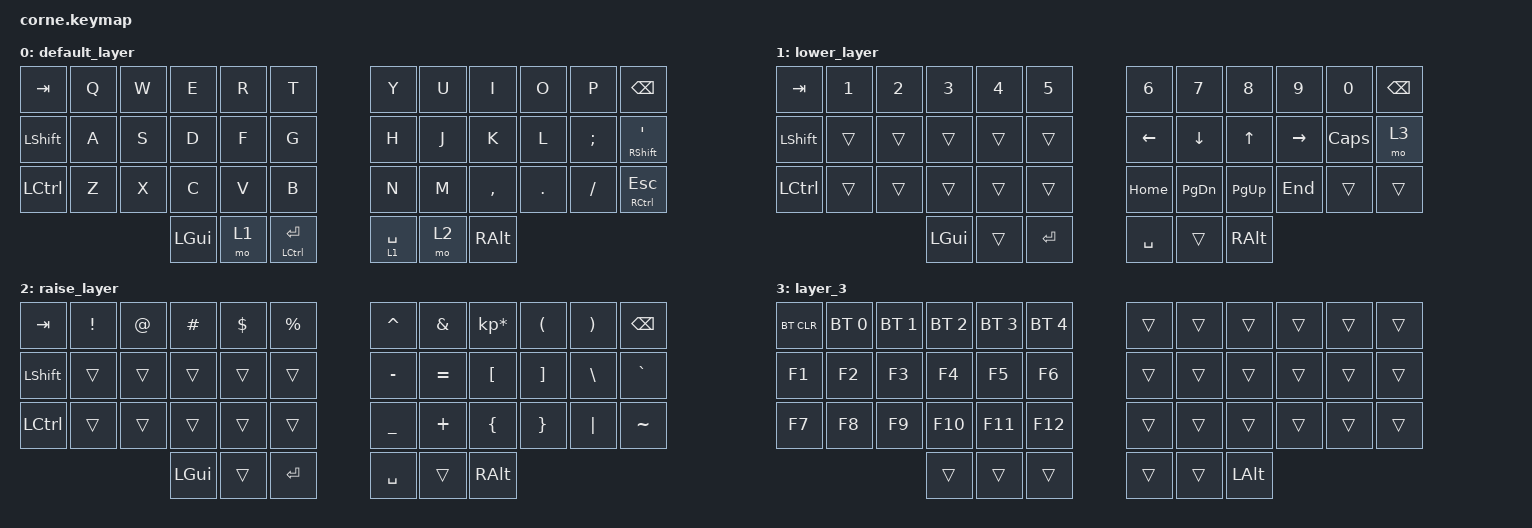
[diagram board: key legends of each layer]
/*
 * Copyright (c) 2020 The ZMK Contributors
 *
 * SPDX-License-Identifier: MIT
 */

#include <behaviors.dtsi>
#include <dt-bindings/zmk/bt.h>
#include <dt-bindings/zmk/keys.h>

/ {
    combos {
        compatible = "zmk,combos";

        Delete {
            bindings = <&kp DELETE>;
            key-positions = <11 10>;
        };
    };

    keymap {
        compatible = "zmk,keymap";

        default_layer {
            // -----------------------------------------------------------------------------------------
            // |  TAB |  Q  |  W  |  E  |  R  |  T  |   |  Y  |  U   |  I  |  O  |  P  | BKSP |
            // | CTRL |  A  |  S  |  D  |  F  |  G  |   |  H  |  J   |  K  |  L  |  ;  |  '   |
            // | SHFT |  Z  |  X  |  C  |  V  |  B  |   |  N  |  M   |  ,  |  .  |  /  | ESC  |
            //                    | GUI | LWR | ENT |   | SPC | RSE  | ALT |

            bindings = <
&kp TAB           &kp Q  &kp W  &kp E     &kp R  &kp T              &kp Y        &kp U  &kp I      &kp O    &kp P     &kp BSPC
&kp LEFT_SHIFT    &kp A  &kp S  &kp D     &kp F  &kp G              &kp H        &kp J  &kp K      &kp L    &kp SEMI  &mt RIGHT_SHIFT SQT
&kp LEFT_CONTROL  &kp Z  &kp X  &kp C     &kp V  &kp B              &kp N        &kp M  &kp COMMA  &kp DOT  &kp FSLH  &mt RIGHT_CONTROL ESC
                                &kp LGUI  &mo 1  &mt LCTRL ENTER    &lt 1 SPACE  &mo 2  &kp RALT
            >;
        };

        lower_layer {
            // -----------------------------------------------------------------------------------------
            // |  TAB |  1  |  2  |  3  |  4  |  5  |   |  6  |  7  |  8  |  9  |  0  | BKSP |
            // | BTCLR| BT1 | BT2 | BT3 | BT4 | BT5 |   | LFT | DWN |  UP | RGT |     |      |
            // | SHFT |     |     |     |     |     |   |     |     |     |     |     |      |
            //                    | GUI |     | ENT |   | SPC |     | ALT |

            bindings = <
&kp TAB           &kp N1  &kp N2  &kp N3    &kp N4  &kp N5     &kp N6     &kp N7         &kp N8     &kp N9     &kp N0    &kp BSPC
&kp LEFT_SHIFT    &trans  &trans  &trans    &trans  &trans     &kp LEFT   &kp DOWN       &kp UP     &kp RIGHT  &kp CAPS  &mo 3
&kp LEFT_CONTROL  &trans  &trans  &trans    &trans  &trans     &kp HOME   &kp PAGE_DOWN  &kp PG_UP  &kp END    &trans    &trans
                                  &kp LGUI  &trans  &kp RET    &kp SPACE  &trans         &kp RALT
            >;
        };

        raise_layer {
            // -----------------------------------------------------------------------------------------
            // |  TAB |  !  |  @  |  #  |  $  |  %  |   |  ^  |  &  |  *  |  (  |  )  | BKSP |
            // | CTRL |     |     |     |     |     |   |  -  |  =  |  [  |  ]  |  \  |  `   |
            // | SHFT |     |     |     |     |     |   |  _  |  +  |  {  |  }  | "|" |  ~   |
            //                    | GUI |     | ENT |   | SPC |     | ALT |

            bindings = <
&kp TAB           &kp EXCL  &kp AT  &kp HASH  &kp DLLR  &kp PRCNT    &kp CARET  &kp AMPS   &kp KP_MULTIPLY  &kp LPAR  &kp RPAR  &kp BSPC
&kp LEFT_SHIFT    &trans    &trans  &trans    &trans    &trans       &kp MINUS  &kp EQUAL  &kp LBKT         &kp RBKT  &kp BSLH  &kp GRAVE
&kp LEFT_CONTROL  &trans    &trans  &trans    &trans    &trans       &kp UNDER  &kp PLUS   &kp LBRC         &kp RBRC  &kp PIPE  &kp TILDE
                                    &kp LGUI  &trans    &kp RET      &kp SPACE  &trans     &kp RALT
            >;
        };

        layer_3 {
            bindings = <
&bt BT_CLR  &bt BT_SEL 0  &bt BT_SEL 1  &bt BT_SEL 2  &bt BT_SEL 3  &bt BT_SEL 4    &trans  &trans  &trans        &trans  &trans  &trans
&kp F1      &kp F2        &kp F3        &kp F4        &kp F5        &kp F6          &trans  &trans  &trans        &trans  &trans  &trans
&kp F7      &kp F8        &kp F9        &kp F10       &kp F11       &kp F12         &trans  &trans  &trans        &trans  &trans  &trans
                                        &trans        &trans        &trans          &trans  &trans  &kp LEFT_ALT
            >;
        };
    };
};
